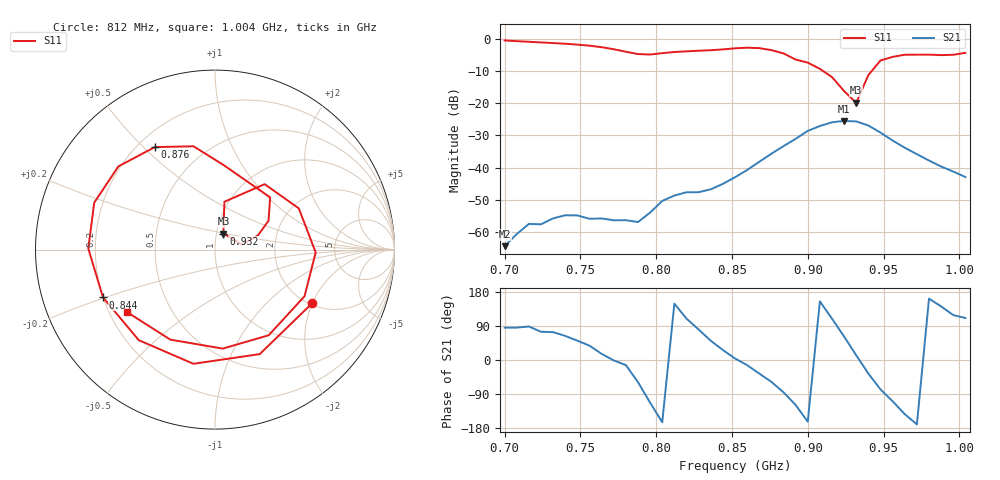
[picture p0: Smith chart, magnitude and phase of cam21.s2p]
# Hz S RI R 50
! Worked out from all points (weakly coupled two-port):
!   39 points, 700 MHz to 1.004 GHz, reference 50 ohm
!   highest |S21| = -25.54 dB at 924 MHz (marker M1); lowest = -64.4 dB at 700 MHz (marker M2)
!   lowest |S11| = -19.9 dB at 932 MHz (marker M3), VSWR 1.22, Z = 54 + j9.74 ohm
!   |S11| at or under -10 dB: 909.9 MHz to 942.3 MHz (32.44 MHz wide, 3.5 % of centre)
!   S12 and S22 are empty: the file has one direction only
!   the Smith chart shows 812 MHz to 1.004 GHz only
!   S11 on the Smith chart (normalised r, x): 812 MHz: 2.06, -2.00; 844 MHz: 0.20, -0.20; 876 MHz: 0.27, +0.54; 932 MHz: 1.08, +0.19; 1.004 GHz: 0.27, -0.30
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7e8  0.7684 0.5315  4.94e-05 0.0006  0 0  0 0
7.24e8  0.8313 -0.2606  0.000351 0.00127  0 0  0 0
7.4e8  0.4431 -0.703  0.000809 0.00163  0 0  0 0
7.56e8  -0.1968 -0.7504  0.00126 0.000983  0 0  0 0
7.72e8  -0.6562 -0.1901  0.00152 -2.93e-05  0 0  0 0
7.8e8  -0.5793 0.2328  0.00148 -0.000352  0 0  0 0
7.88e8  -0.2235 0.5298  0.000747 -0.00121  0 0  0 0
7.96e8  0.2582 0.503  -0.000768 -0.00184  0 0  0 0
8.04e8  0.5746 0.1484  -0.00292 -0.000821  0 0  0 0
8.12e8  0.5417 -0.2986  -0.00314 0.0019  0 0  0 0
8.28e8  -0.1201 -0.6363  0.000686 0.00408  0 0  0 0
8.44e8  -0.624 -0.2667  0.00499 0.00248  0 0  0 0
8.52e8  -0.7059 0.00585  0.00704 0.000488  0 0  0 0
8.76e8  -0.3351 0.571  0.00874 -0.0138  0 0  0 0
9e8  0.3073 0.2909  -0.0353 -0.0109  0 0  0 0
9.08e8  0.2984 0.161  -0.0398 0.0188  0 0  0 0
9.24e8  0.1506 0.0282  0.025 0.0465  0 0  0 0
9.32e8  0.0467 0.0893  0.0506 0.0111  0 0  0 0
9.4e8  0.0525 0.2666  0.0363 -0.0262  0 0  0 0
9.56e8  0.4667 0.2298  -0.00849 -0.0248  0 0  0 0
9.8e8  0.2991 -0.4773  -0.0122 0.00397  0 0  0 0
1.004e9  -0.4888 -0.3489  -0.00253 0.00665  0 0  0 0
